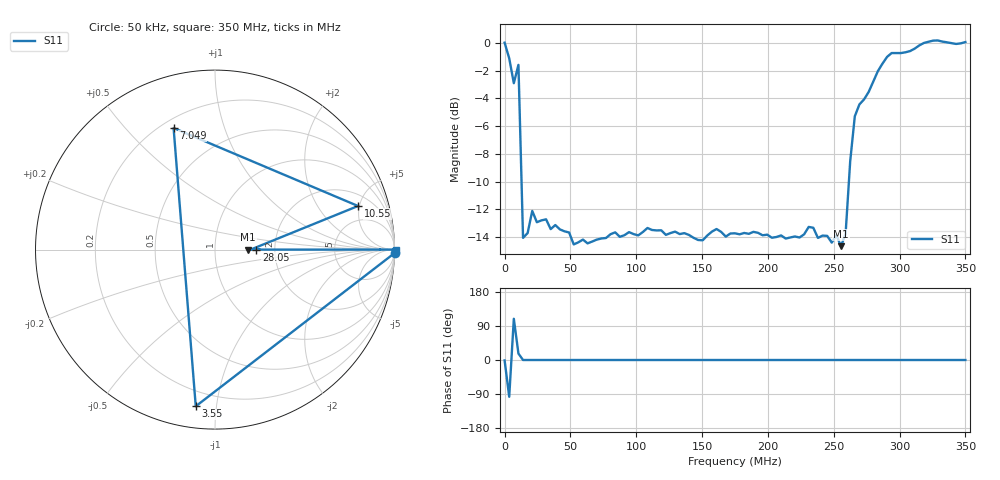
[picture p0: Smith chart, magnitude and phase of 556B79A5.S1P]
!File created by NanoVNA
# Hz S RI R 50
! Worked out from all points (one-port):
!   101 points, 50 kHz to 350 MHz, reference 50 ohm
!   lowest |S11| = -14.6 dB at 255.5 MHz (marker M1), VSWR 1.45, Z = 72.7 + j0 ohm
!   |S11| at or under -10 dB: 12.91 MHz to 261.5 MHz (248.6 MHz wide, 181 % of centre)
!   S11 on the Smith chart (normalised r, x): 50 kHz: open; 3.55 MHz: 0.11, -0.88; 7.049 MHz: 0.25, +0.69; 10.55 MHz: 3.05, +4.85; 28.05 MHz: 1.60, +0.00; 350 MHz: open
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50000  1.001 -0.0189
3549500  -0.1072 -0.8729
7049000  -0.2307 0.6774
1.05485e7  0.7969 0.2428
1.4048e7  0.1985 0
1.75475e7  0.2066 0
2.1047e7  0.2481 0
2.45465e7  0.226 0
2.8046e7  0.2295 0
4.55435e7  0.2096 0
5.25425e7  0.188 0
8.75375e7  0.2003 0
1.085345e8  0.2154 0
1.33031e8  0.2048 0
1.75025e8  0.2061 0
2.205185e8  0.2008 0
2.345165e8  0.2158 0
2.485145e8  0.1908 0
2.52014e8  0.203 0
2.555135e8  0.1853 0
2.59013e8  0.2051 0
2.625125e8  0.3745 0
2.66012e8  0.5439 0
2.765105e8  0.6651 0
2.905085e8  0.8898 0
3.08006e8  0.934 0
3.255035e8  1.018 0
3.5e8  1.006 0
